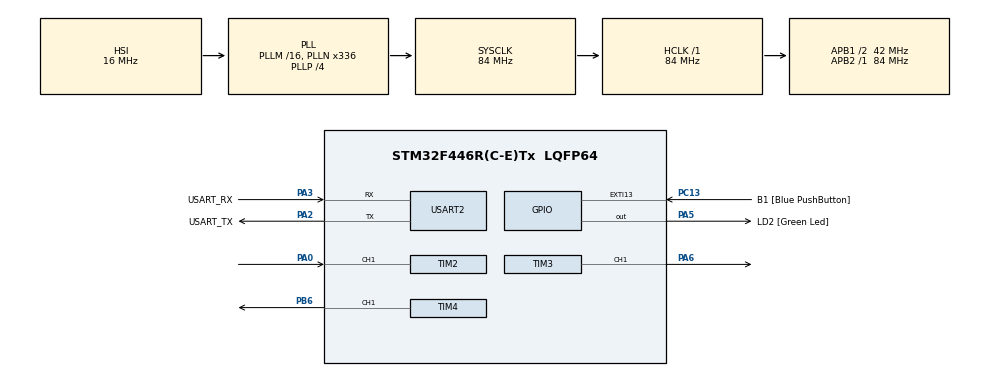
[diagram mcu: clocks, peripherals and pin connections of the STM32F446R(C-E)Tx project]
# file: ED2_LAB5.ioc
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Mcu.Family=STM32F4
Mcu.Name=STM32F446R(C-E)Tx
Mcu.Package=LQFP64
NVIC.PriorityGroup=NVIC_PRIORITYGROUP_0
NVIC.TIM2_IRQn=true\:0\:0\:false\:false\:true\:true\:true\:true
PA0-WKUP.Signal=S_TIM2_CH1_ETR
PA13.GPIO_Label=TMS
PA13.Mode=Serial_Wire
PA13.Signal=SYS_JTMS-SWDIO
PA14.GPIO_Label=TCK
PA14.Mode=Serial_Wire
PA14.Signal=SYS_JTCK-SWCLK
PA2.GPIO_Label=USART_TX
PA2.Mode=Asynchronous
PA2.Signal=USART2_TX
PA3.GPIO_Label=USART_RX
PA3.Mode=Asynchronous
PA3.Signal=USART2_RX
PA5.GPIO_Label=LD2 [Green Led]
PA5.Signal=GPIO_Output
PA6.Signal=S_TIM3_CH1
PB3.GPIO_Label=SWO
PB3.Signal=SYS_JTDO-SWO
PB6.Signal=S_TIM4_CH1
PC13.GPIO_Label=B1 [Blue PushButton]
PC13.GPIO_ModeDefaultEXTI=GPIO_MODE_IT_FALLING
PC13.Signal=GPXTI13
PC14-OSC32_IN.Mode=LSE-External-Oscillator
PC14-OSC32_IN.Signal=RCC_OSC32_IN
PC15-OSC32_OUT.Mode=LSE-External-Oscillator
PC15-OSC32_OUT.Signal=RCC_OSC32_OUT
PH0-OSC_IN.Mode=HSE-External-Oscillator
PH0-OSC_IN.Signal=RCC_OSC_IN
PH1-OSC_OUT.Mode=HSE-External-Oscillator
PH1-OSC_OUT.Signal=RCC_OSC_OUT
ProjectManager.HeapSize=0x200
ProjectManager.StackSize=0x400
ProjectManager.TargetToolchain=STM32CubeIDE
RCC.48MHZClocksFreq_Value=84000000
RCC.AHBFreq_Value=84000000
RCC.APB1CLKDivider=RCC_HCLK_DIV2
RCC.APB1Freq_Value=42000000
RCC.APB1TimFreq_Value=84000000
RCC.APB2Freq_Value=84000000
RCC.APB2TimFreq_Value=84000000
RCC.CortexFreq_Value=84000000
RCC.FLatency-AdvancedSettings=FLASH_LATENCY_2
RCC.HCLKFreq_Value=84000000
RCC.HSE_VALUE=8000000
RCC.HSI_VALUE=16000000
RCC.PLLN=336
RCC.PLLP=RCC_PLLP_DIV4
RCC.SYSCLKFreq_VALUE=84000000
RCC.SYSCLKSource=RCC_SYSCLKSOURCE_PLLCLK
RCC.USBFreq_Value=168000000
RCC.VCOOutputFreq_Value=336000000
SH.S_TIM2_CH1_ETR.0=TIM2_CH1,Input_Capture1_from_TI1
SH.S_TIM3_CH1.0=TIM3_CH1,PWM Generation1 CH1
SH.S_TIM4_CH1.0=TIM4_CH1,PWM Generation1 CH1
TIM2.Channel-Input_Capture1_from_TI1=TIM_CHANNEL_1
TIM2.Prescaler=83
TIM3.AutoReloadPreload=TIM_AUTORELOAD_PRELOAD_ENABLE
TIM3.Channel-PWM\ Generation1\ CH1=TIM_CHANNEL_1
TIM3.CounterMode=TIM_COUNTERMODE_UP
TIM3.Period=4000
TIM3.Prescaler=41999
TIM3.Pulse-PWM\ Generation1\ CH1=2000
TIM3.TIM_MasterSlaveMode=TIM_MASTERSLAVEMODE_DISABLE
TIM4.AutoReloadPreload=TIM_AUTORELOAD_PRELOAD_DISABLE
TIM4.Channel-PWM\ Generation1\ CH1=TIM_CHANNEL_1
TIM4.Period=1000
TIM4.Prescaler=41999
USART2.VirtualMode=VM_ASYNC
VP_TIM2_VS_ClockSourceINT.Mode=Internal
VP_TIM3_VS_ClockSourceINT.Mode=Internal
VP_TIM4_VS_ClockSourceINT.Mode=Internal
board=NUCLEO-F446RE

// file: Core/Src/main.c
/* USER CODE BEGIN Header */
/**
  ******************************************************************************
  * @file           : main.c
  * @brief          : Main program body
  ******************************************************************************
  * @attention
  *
  * Copyright (c) 2026 STMicroelectronics.
  * All rights reserved.
  *
  * This software is licensed under terms that can be found in the LICENSE file
  * in the root directory of this software component.
  * If no LICENSE file comes with this software, it is provided AS-IS.
  *
  ******************************************************************************
  */
/* USER CODE END Header */
#include "main.h"

/* USER CODE BEGIN Includes */

#include <stdio.h>
#include <string.h>

/* USER CODE END Includes */

TIM_HandleTypeDef htim2;
TIM_HandleTypeDef htim3;
TIM_HandleTypeDef htim4;

UART_HandleTypeDef huart2;

/* USER CODE BEGIN PV */

uint32_t captura1 = 0;
uint32_t captura2 = 0;
uint32_t diferencia = 0;
float frecuencia = 0;
uint8_t capturado = 0;
char msg[50];

/* USER CODE END PV */

void SystemClock_Config(void);
static void MX_GPIO_Init(void);
static void MX_TIM2_Init(void);
static void MX_USART2_UART_Init(void);
static void MX_TIM3_Init(void);
static void MX_TIM4_Init(void);

int main(void)
{

  /* MCU Configuration--------------------------------------------------------*/

  /* Reset of all peripherals, Initializes the Flash interface and the Systick. */
  HAL_Init();

  /* Configure the system clock */
  SystemClock_Config();

  /* Initialize all configured peripherals */
  MX_GPIO_Init();
  MX_TIM2_Init();
  MX_USART2_UART_Init();
  MX_TIM3_Init();
  MX_TIM4_Init();

  /* Infinite loop */
  while (1)
  {

    /* USER CODE BEGIN 3 */

	  sprintf(msg, "Frecuencia = %.2f Hz\r\n", frecuencia);
	  HAL_UART_Transmit(&huart2, (uint8_t*)msg, strlen(msg), HAL_MAX_DELAY);
	  HAL_Delay(500);

  }
  /* USER CODE END 3 */
}

void SystemClock_Config(void)
{
  RCC_OscInitTypeDef RCC_OscInitStruct = {0};
  RCC_ClkInitTypeDef RCC_ClkInitStruct = {0};

  /** Configure the main internal regulator output voltage
  */
  __HAL_RCC_PWR_CLK_ENABLE();
  __HAL_PWR_VOLTAGESCALING_CONFIG(PWR_REGULATOR_VOLTAGE_SCALE3);

  /** Initializes the RCC Oscillators according to the specified parameters
  * in the RCC_OscInitTypeDef structure.
  */
  RCC_OscInitStruct.OscillatorType = RCC_OSCILLATORTYPE_HSI;
  RCC_OscInitStruct.HSIState = RCC_HSI_ON;
  RCC_OscInitStruct.HSICalibrationValue = RCC_HSICALIBRATION_DEFAULT;
  RCC_OscInitStruct.PLL.PLLState = RCC_PLL_ON;
  RCC_OscInitStruct.PLL.PLLSource = RCC_PLLSOURCE_HSI;
  RCC_OscInitStruct.PLL.PLLM = 16;
  RCC_OscInitStruct.PLL.PLLN = 336;
  RCC_OscInitStruct.PLL.PLLP = RCC_PLLP_DIV4;
  RCC_OscInitStruct.PLL.PLLQ = 2;
  RCC_OscInitStruct.PLL.PLLR = 2;
  if (HAL_RCC_OscConfig(&RCC_OscInitStruct) != HAL_OK)
  {
    Error_Handler();
  }

  /** Initializes the CPU, AHB and APB buses clocks
  */
  RCC_ClkInitStruct.ClockType = RCC_CLOCKTYPE_HCLK|RCC_CLOCKTYPE_SYSCLK
                              |RCC_CLOCKTYPE_PCLK1|RCC_CLOCKTYPE_PCLK2;
  RCC_ClkInitStruct.SYSCLKSource = RCC_SYSCLKSOURCE_PLLCLK;
  RCC_ClkInitStruct.AHBCLKDivider = RCC_SYSCLK_DIV1;
  RCC_ClkInitStruct.APB1CLKDivider = RCC_HCLK_DIV2;
  RCC_ClkInitStruct.APB2CLKDivider = RCC_HCLK_DIV1;

  if (HAL_RCC_ClockConfig(&RCC_ClkInitStruct, FLASH_LATENCY_2) != HAL_OK)
  {
    Error_Handler();
  }
}

static void MX_TIM2_Init(void)
{

  TIM_ClockConfigTypeDef sClockSourceConfig = {0};
  TIM_MasterConfigTypeDef sMasterConfig = {0};
  TIM_IC_InitTypeDef sConfigIC = {0};

  htim2.Instance = TIM2;
  htim2.Init.Prescaler = 83;
  htim2.Init.CounterMode = TIM_COUNTERMODE_UP;
  htim2.Init.Period = 4294967295;
  htim2.Init.ClockDivision = TIM_CLOCKDIVISION_DIV1;
  htim2.Init.AutoReloadPreload = TIM_AUTORELOAD_PRELOAD_DISABLE;
  if (HAL_TIM_Base_Init(&htim2) != HAL_OK)
  {
    Error_Handler();
  }
  sClockSourceConfig.ClockSource = TIM_CLOCKSOURCE_INTERNAL;
  if (HAL_TIM_ConfigClockSource(&htim2, &sClockSourceConfig) != HAL_OK)
  {
    Error_Handler();
  }
  if (HAL_TIM_IC_Init(&htim2) != HAL_OK)
  {
    Error_Handler();
  }
  sMasterConfig.MasterOutputTrigger = TIM_TRGO_RESET;
  sMasterConfig.MasterSlaveMode = TIM_MASTERSLAVEMODE_DISABLE;
  if (HAL_TIMEx_MasterConfigSynchronization(&htim2, &sMasterConfig) != HAL_OK)
  {
    Error_Handler();
  }
  sConfigIC.ICPolarity = TIM_INPUTCHANNELPOLARITY_RISING;
  sConfigIC.ICSelection = TIM_ICSELECTION_DIRECTTI;
  sConfigIC.ICPrescaler = TIM_ICPSC_DIV1;
  sConfigIC.ICFilter = 0;
  if (HAL_TIM_IC_ConfigChannel(&htim2, &sConfigIC, TIM_CHANNEL_1) != HAL_OK)
  {
    Error_Handler();
  }

}

static void MX_TIM3_Init(void)
{

  TIM_ClockConfigTypeDef sClockSourceConfig = {0};
  TIM_MasterConfigTypeDef sMasterConfig = {0};
  TIM_OC_InitTypeDef sConfigOC = {0};

  htim3.Instance = TIM3;
  htim3.Init.Prescaler = 41999;
  htim3.Init.CounterMode = TIM_COUNTERMODE_UP;
  htim3.Init.Period = 4000;
  htim3.Init.ClockDivision = TIM_CLOCKDIVISION_DIV1;
  htim3.Init.AutoReloadPreload = TIM_AUTORELOAD_PRELOAD_ENABLE;
  if (HAL_TIM_Base_Init(&htim3) != HAL_OK)
  {
    Error_Handler();
  }
  sClockSourceConfig.ClockSource = TIM_CLOCKSOURCE_INTERNAL;
  if (HAL_TIM_ConfigClockSource(&htim3, &sClockSourceConfig) != HAL_OK)
  {
    Error_Handler();
  }
  if (HAL_TIM_PWM_Init(&htim3) != HAL_OK)
  {
    Error_Handler();
  }
  sMasterConfig.MasterOutputTrigger = TIM_TRGO_RESET;
  sMasterConfig.MasterSlaveMode = TIM_MASTERSLAVEMODE_DISABLE;
  if (HAL_TIMEx_MasterConfigSynchronization(&htim3, &sMasterConfig) != HAL_OK)
  {
    Error_Handler();
  }
  sConfigOC.OCMode = TIM_OCMODE_PWM1;
  sConfigOC.Pulse = 2000;
  sConfigOC.OCPolarity = TIM_OCPOLARITY_HIGH;
  sConfigOC.OCFastMode = TIM_OCFAST_DISABLE;
  if (HAL_TIM_PWM_ConfigChannel(&htim3, &sConfigOC, TIM_CHANNEL_1) != HAL_OK)
  {
    Error_Handler();
  }
  HAL_TIM_MspPostInit(&htim3);

}

static void MX_TIM4_Init(void)
{

  TIM_ClockConfigTypeDef sClockSourceConfig = {0};
  TIM_MasterConfigTypeDef sMasterConfig = {0};
  TIM_OC_InitTypeDef sConfigOC = {0};

  htim4.Instance = TIM4;
  htim4.Init.Prescaler = 41999;
  htim4.Init.CounterMode = TIM_COUNTERMODE_UP;
  htim4.Init.Period = 1000;
  htim4.Init.ClockDivision = TIM_CLOCKDIVISION_DIV1;
  htim4.Init.AutoReloadPreload = TIM_AUTORELOAD_PRELOAD_DISABLE;
  if (HAL_TIM_Base_Init(&htim4) != HAL_OK)
  {
    Error_Handler();
  }
  sClockSourceConfig.ClockSource = TIM_CLOCKSOURCE_INTERNAL;
  if (HAL_TIM_ConfigClockSource(&htim4, &sClockSourceConfig) != HAL_OK)
  {
    Error_Handler();
  }
  if (HAL_TIM_PWM_Init(&htim4) != HAL_OK)
  {
    Error_Handler();
  }
  sMasterConfig.MasterOutputTrigger = TIM_TRGO_RESET;
  sMasterConfig.MasterSlaveMode = TIM_MASTERSLAVEMODE_DISABLE;
  if (HAL_TIMEx_MasterConfigSynchronization(&htim4, &sMasterConfig) != HAL_OK)
  {
    Error_Handler();
  }
  sConfigOC.OCMode = TIM_OCMODE_PWM1;
  sConfigOC.Pulse = 0;
  sConfigOC.OCPolarity = TIM_OCPOLARITY_HIGH;
  sConfigOC.OCFastMode = TIM_OCFAST_DISABLE;
  if (HAL_TIM_PWM_ConfigChannel(&htim4, &sConfigOC, TIM_CHANNEL_1) != HAL_OK)
  {
    Error_Handler();
  }
  HAL_TIM_MspPostInit(&htim4);

}

static void MX_USART2_UART_Init(void)
{

  huart2.Instance = USART2;
  huart2.Init.BaudRate = 115200;
  huart2.Init.WordLength = UART_WORDLENGTH_8B;
  huart2.Init.StopBits = UART_STOPBITS_1;
  huart2.Init.Parity = UART_PARITY_NONE;
  huart2.Init.Mode = UART_MODE_TX_RX;
  huart2.Init.HwFlowCtl = UART_HWCONTROL_NONE;
  huart2.Init.OverSampling = UART_OVERSAMPLING_16;
  if (HAL_UART_Init(&huart2) != HAL_OK)
  {
    Error_Handler();
  }

}

static void MX_GPIO_Init(void)
{
  GPIO_InitTypeDef GPIO_InitStruct = {0};

  /* GPIO Ports Clock Enable */
  __HAL_RCC_GPIOC_CLK_ENABLE();
  __HAL_RCC_GPIOH_CLK_ENABLE();
  __HAL_RCC_GPIOA_CLK_ENABLE();
  __HAL_RCC_GPIOB_CLK_ENABLE();

  /*Configure GPIO pin Output Level */
  HAL_GPIO_WritePin(LD2_GPIO_Port, LD2_Pin, GPIO_PIN_RESET);

  /*Configure GPIO pin : B1_Pin */
  GPIO_InitStruct.Pin = B1_Pin;
  GPIO_InitStruct.Mode = GPIO_MODE_IT_FALLING;
  GPIO_InitStruct.Pull = GPIO_NOPULL;
  HAL_GPIO_Init(B1_GPIO_Port, &GPIO_InitStruct);

  /*Configure GPIO pin : LD2_Pin */
  GPIO_InitStruct.Pin = LD2_Pin;
  GPIO_InitStruct.Mode = GPIO_MODE_OUTPUT_PP;
  GPIO_InitStruct.Pull = GPIO_NOPULL;
  GPIO_InitStruct.Speed = GPIO_SPEED_FREQ_LOW;
  HAL_GPIO_Init(LD2_GPIO_Port, &GPIO_InitStruct);

}

/* USER CODE BEGIN 4 */

void HAL_TIM_IC_CaptureCallback(TIM_HandleTypeDef *htim)
{
    if(htim->Instance == TIM2)
    {
        if(capturado == 0)
        {
            captura1 = HAL_TIM_ReadCapturedValue(htim, TIM_CHANNEL_1);
            capturado = 1;
        }
        else
        {
            captura2 = HAL_TIM_ReadCapturedValue(htim, TIM_CHANNEL_1);

            if(captura2 > captura1)
            {
                diferencia = captura2 - captura1;
            }

            if(diferencia != 0)
            {
                frecuencia = 1000000.0 / diferencia;
            }

            captura1 = captura2;
        }
    }
}

/* USER CODE END 4 */

void Error_Handler(void)
{
  __disable_irq();
  while (1)
  {
  }
}
